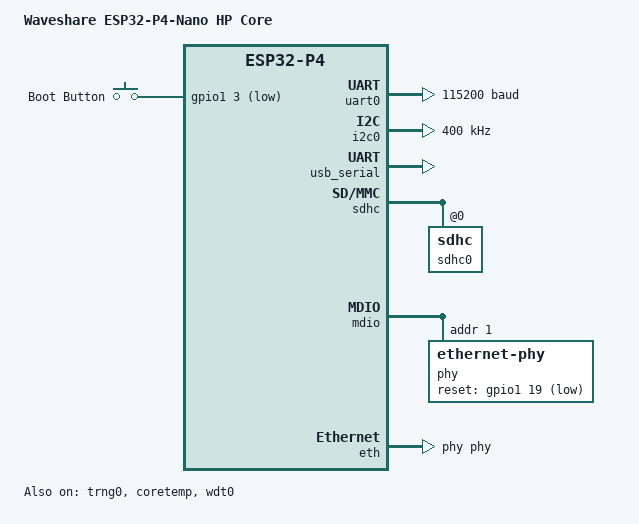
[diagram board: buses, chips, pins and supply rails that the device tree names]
/*
 * Copyright (c) 2026 Richard Osterloh <richard.osterloh@gmail.com>
 * SPDX-License-Identifier: Apache-2.0
 */

/dts-v1/;

#include <espressif/esp32p4/esp32p4_n16r32.dtsi>
#include "esp32p4_nano-pinctrl.dtsi"
#include <zephyr/dt-bindings/input/input-event-codes.h>
#include <zephyr/dt-bindings/video/video-interfaces.h>
#include <espressif/partitions_0x2000_default_16M.dtsi>

/*
 * WiFi/BT (out of scope): an on-board ESP32-C6 provides the radio over SDIO
 * (Reset GPIO54, CLK GPIO18, CMD GPIO19, D0-D3 GPIO14-17). Zephyr's esp_hosted
 * driver is SPI-only, so no node is defined here; see doc/index.rst.
 *
 * The MicroSD VDD rail (GPIO45) is default-on in hardware (the vendor demos
 * never drive it), so it is not modelled. GPIO51 is NOT a power rail: the
 * schematic names it PHY_RESET, and it is wired as the IP101's reset - see
 * &phy below.
 *
 * The USB 2.0 HS OTG port lands on a USB-A connector (J2), i.e. it is a host
 * port, so no zephyr_udc0 device-side label is defined. Zephyr can in principle
 * drive it: the SoC's usb_otg node already carries the "snps,dwc2" compatible
 * that drivers/usb/uhc/uhc_dwc2.c binds, so a zephyr_uhc0 label is the route
 * in. Untested on P4 high-speed, hence left disabled.
 */

/ {
	model = "Waveshare ESP32-P4-Nano HP Core";
	compatible = "waveshare,esp32-p4-nano";

	chosen {
		zephyr,sram = &sramhp;
		zephyr,console = &uart0;
		zephyr,shell-uart = &uart0;
		zephyr,flash = &flash0;
		zephyr,code-partition = &slot0_partition;
	};

	aliases {
		sw0 = &boot_button;
		watchdog0 = &wdt0;
		sdhc0 = &sdhc0;
		/*
		 * Required by MCUboot's serial-recovery / USB-DFU entrance GPIO:
		 * bootloader/mcuboot/boot/zephyr/io.c derives BUTTON_0_NODE from
		 * this alias and #errors without it. The BOOT button is the only
		 * user button on the board, and holding it is the physical way
		 * back in if an OTA leaves the app unbootable.
		 */
		mcuboot-button0 = &boot_button;
	};

	gpio_keys {
		compatible = "gpio-keys";

		boot_button: button {
			label = "Boot Button";
			gpios = <&gpio1 3 (GPIO_PULL_UP | GPIO_ACTIVE_LOW)>;
			zephyr,code = <INPUT_KEY_0>;
		};
	};
};

/*
 * The SoC dtsi defaults to 400 MHz, which only exists on v3.x silicon. This
 * board is rev v1.3 (Kconfig.esp32p4_nano selects SOC_ESP32P4_REV_1_3), whose
 * clock generator produces 90/180/360 MHz only. soc/espressif/esp32p4/soc.c
 * BUILD_ASSERTs set membership per revision, so leaving the default here is a
 * build failure; before that assert landed it was a boot failure.
 */
&cpu0 {
	clock-frequency = <DT_FREQ_M(360)>;
};

&cpu1 {
	clock-frequency = <DT_FREQ_M(360)>;
};

&uart0 {
	status = "okay";
	current-speed = <115200>;
	pinctrl-0 = <&uart0_default>;
	pinctrl-names = "default";
};

&trng0 {
	status = "okay";
};

&coretemp {
	status = "okay";
};

/*
 * zephyr_i2c is the conventional label for a board's general-purpose I2C, which
 * samples and shields bind to. On this board i2c0 is also the CSI connector's
 * SCCB bus (GPIO8 SCL / GPIO7 SDA) and drives the on-board ES8311 codec.
 */
zephyr_i2c: &i2c0 {
	status = "okay";
	clock-frequency = <I2C_BITRATE_FAST>;
	pinctrl-0 = <&i2c0_default>;
	pinctrl-names = "default";
};

&usb_serial {
	status = "okay";
};

&gpio0 {
	status = "okay";
};

&gpio1 {
	status = "okay";
};

&wdt0 {
	status = "okay";
};

&dma {
	status = "okay";
};

&dma_axi {
	status = "okay";
};

&ldo {
	status = "okay";

	ldo1@1 {
		regulator-init-microvolt = <3300000>;
		regulator-boot-on;
		regulator-always-on;
	};

	ldo2@2 {
		regulator-init-microvolt = <1800000>;
		regulator-boot-on;
		regulator-always-on;
	};

	ldo4@4 {
		regulator-init-microvolt = <3300000>;
		regulator-boot-on;
		regulator-always-on;
	};
};

&sdhc {
	sdhc0: sdhc@0 {
		status = "okay";
		bus-width = <4>;
		max-bus-freq = <40000000>;
		clk-pin = <43>;
		cmd-pin = <44>;
		d0-pin = <39>;
		d1-pin = <40>;
		d2-pin = <41>;
		d3-pin = <42>;

		mmc {
			compatible = "zephyr,sdmmc-disk";
			disk-name = "SD";
			status = "okay";
		};
	};
};

&mdio {
	pinctrl-0 = <&mdio_default>;
	pinctrl-names = "default";
	status = "okay";

	/*
	 * PHY_RESET is GPIO51 (= gpio1 pin 19, since gpio1 starts at GPIO32),
	 * active low, per the board schematic. The in-tree waveshare_esp32p4_eth
	 * board independently uses the same pin.
	 *
	 * Both timing properties are mandatory here, not tuning knobs. phy_mii.c
	 * reads them with DT_INST_PROP_OR(..., 0), so declaring reset-gpios
	 * without them yields gpio assert -> k_busy_wait(0) -> gpio deassert ->
	 * k_msleep(0) -> immediate MDIO read: a zero-width reset pulse and no
	 * settling time, so the PHY's ID registers are read while it is still in
	 * reset. That reads back as "phy_mii: No PHY found at address 1" plus
	 * "eth_esp32: PHY device not ready" and leaves the board with no network
	 * interface at all - strictly worse than declaring no reset line.
	 *
	 * 10 ms assert is the IP101's documented minimum; the 50 ms deassertion
	 * timeout is deliberate margin over its ~10 ms. Values verified on the
	 * sibling ESP32-P4-ETH board. Trim only with a scope on the reset line.
	 */
	phy: ethernet-phy@1 {
		compatible = "ethernet-phy";
		reg = <1>;
		reset-gpios = <&gpio1 19 GPIO_ACTIVE_LOW>;
		reset-assert-duration-us = <10000>;
		reset-deassertion-timeout-ms = <50>;
	};
};

&eth {
	status = "okay";
	phy-handle = <&phy>;
	pinctrl-0 = <&rmii_default>;
	pinctrl-names = "default";
};

/*
 * MIPI CSI-2 camera receiver (host + bridge). The D-PHY uses dedicated silicon
 * pads (no pinctrl) and its clocks are gated by the HAL, so - like the sibling
 * mipi-dsi node upstream - it declares neither. Disabled by default; a shield
 * or overlay enables it and wires the sensor endpoint.
 *
 * The csi_* labels are the contract Zephyr's camera shields bind to, so that
 * boards/shields/raspberry_pi_camera_module_2 works here unmodified rather than
 * each application hand-rolling an IMX219 overlay:
 *
 *   csi_interface     - the receiver, which the shield sets status = "okay"
 *   csi_ep_in         - its input endpoint, which the shield points at the sensor
 *   csi_capture_port  - the video device an app opens, i.e. chosen zephyr,camera
 *   csi_i2c           - the SCCB bus on the CSI connector (below)
 *
 * ST's boards split csi_interface (&dcmipp) from csi_capture_port (&pipe_main)
 * because their capture pipeline is a child node. This receiver is a single
 * video device, so both labels name the same node.
 */
/ {
	soc {
		csi_interface: csi_capture_port: mipi_csi: mipi-csi@5009f000 {
			compatible = "espressif,esp32p4-mipi-csi";
			reg = <0x5009f000 0x800 0x5009f800 0x800>;
			reg-names = "host", "bridge";
			/*
			 * Frame completion is signalled by the DW-GDMA channel
			 * that drains the CSI bridge (one contiguous block per
			 * frame), so the receiver services the DW-GDMA IRQ.
			 */
			interrupts = <DW_GDMA_INTR_SOURCE IRQ_DEFAULT_PRIORITY 0>;
			interrupt-parent = <&intc>;
			#address-cells = <1>;
			#size-cells = <0>;
			status = "disabled";

			/*
			 * The endpoint cannot be left empty for a shield to fill
			 * in. edtlib enforces a binding's required properties
			 * whenever the node's own status is "okay", and status
			 * does not inherit from a parent (edtlib.py Node.status),
			 * so this endpoint is validated even though mipi_csi
			 * above is disabled - and images that never see a shield,
			 * MCUboot included, would fail the build.
			 *
			 * bus-type and data-lanes are properties of the board's
			 * connector rather than of any particular camera: J3 is
			 * the Raspberry Pi 15-pin CSI connector, wired
			 * CSI_D0_+/-, CSI_D1_+/- and CSI_CLK_+/- to the P4's
			 * dedicated D-PHY pads, i.e. 2-lane MIPI CSI-2 D-PHY.
			 * remote-endpoint-label is the one sensor-specific value,
			 * defaulted to the Raspberry Pi camera module's output
			 * endpoint; a shield for a different sensor overrides it.
			 */
			port {
				csi_ep_in: endpoint {
					remote-endpoint-label = "imx219_ep_out";
					bus-type = <VIDEO_BUS_TYPE_CSI2_DPHY>;
					data-lanes = <1 2>;
				};
			};
		};
	};
};

/*
 * The CSI connector's SCCB pins are i2c0 (SCL GPIO8 / SDA GPIO7), so the camera
 * shields' csi_i2c is this bus. Separate statement because the node already
 * carries the zephyr_i2c label above.
 */
csi_i2c: &i2c0 {};
